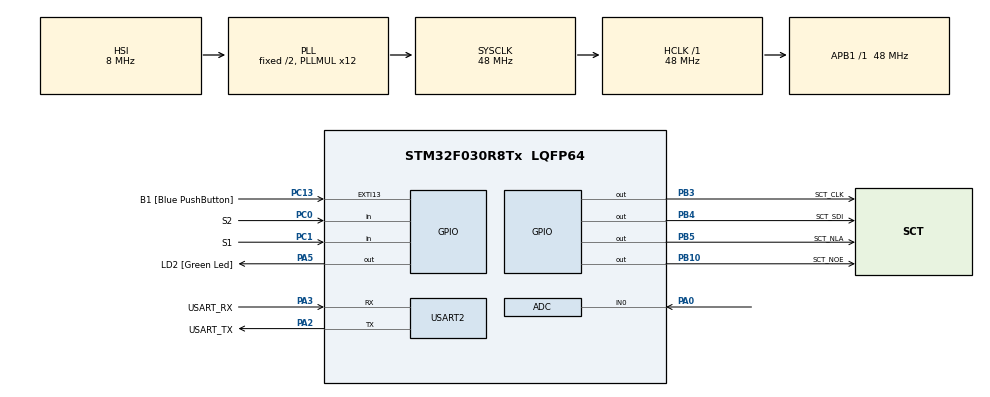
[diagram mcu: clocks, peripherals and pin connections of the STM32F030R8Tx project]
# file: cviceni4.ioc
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ADC.ContinuousConvMode=ENABLE
ADC.Overrun=ADC_OVR_DATA_OVERWRITTEN
ADC.SamplingTime=ADC_SAMPLETIME_239CYCLES_5
Mcu.Family=STM32F0
Mcu.Name=STM32F030R8Tx
Mcu.Package=LQFP64
NVIC.ADC1_IRQn=true\:0\:0\:false\:false\:true\:true\:true
PA0.Mode=IN0
PA0.Signal=ADC_IN0
PA13.GPIO_Label=TMS
PA13.Mode=Serial_Wire
PA13.Signal=SYS_SWDIO
PA14.GPIO_Label=TCK
PA14.Mode=Serial_Wire
PA14.Signal=SYS_SWCLK
PA2.GPIO_Label=USART_TX
PA2.GPIO_Mode=GPIO_MODE_AF_PP
PA2.GPIO_PuPd=GPIO_NOPULL
PA2.GPIO_Speed=GPIO_SPEED_FREQ_LOW
PA2.Mode=Asynchronous
PA2.Signal=USART2_TX
PA3.GPIO_Label=USART_RX
PA3.GPIO_Mode=GPIO_MODE_AF_PP
PA3.GPIO_PuPd=GPIO_NOPULL
PA3.GPIO_Speed=GPIO_SPEED_FREQ_LOW
PA3.Mode=Asynchronous
PA3.Signal=USART2_RX
PA5.GPIO_Label=LD2 [Green Led]
PA5.GPIO_Mode=GPIO_MODE_OUTPUT_PP
PA5.GPIO_PuPd=GPIO_NOPULL
PA5.GPIO_Speed=GPIO_SPEED_FREQ_LOW
PA5.Signal=GPIO_Output
PB10.GPIO_Label=SCT_NOE
PB10.Signal=GPIO_Output
PB3.GPIO_Label=SCT_CLK
PB3.Signal=GPIO_Output
PB4.GPIO_Label=SCT_SDI
PB4.Signal=GPIO_Output
PB5.GPIO_Label=SCT_NLA
PB5.Signal=GPIO_Output
PC0.GPIO_Label=S2
PC0.GPIO_PuPd=GPIO_PULLUP
PC0.Signal=GPIO_Input
PC1.GPIO_Label=S1
PC1.GPIO_PuPd=GPIO_PULLUP
PC1.Signal=GPIO_Input
PC13.GPIO_Label=B1 [Blue PushButton]
PC13.GPIO_ModeDefaultEXTI=GPIO_MODE_IT_FALLING
PC13.Signal=GPXTI13
PC14-OSC32_IN.Mode=LSE-External-Oscillator
PC14-OSC32_IN.Signal=RCC_OSC32_IN
PC15-OSC32_OUT.Mode=LSE-External-Oscillator
PC15-OSC32_OUT.Signal=RCC_OSC32_OUT
PF0-OSC_IN.Mode=HSE-External-Clock-Source
PF0-OSC_IN.Signal=RCC_OSC_IN
PF1-OSC_OUT.Signal=RCC_OSC_OUT
ProjectManager.HeapSize=0x200
ProjectManager.StackSize=0x400
ProjectManager.TargetToolchain=STM32CubeIDE
RCC.AHBFreq_Value=48000000
RCC.APB1Freq_Value=48000000
RCC.APB1TimFreq_Value=48000000
RCC.HCLKFreq_Value=48000000
RCC.PLLMUL=RCC_PLL_MUL12
RCC.SYSCLKFreq_VALUE=48000000
RCC.SYSCLKSource=RCC_SYSCLKSOURCE_PLLCLK
USART2.VirtualMode-Asynchronous=VM_ASYNC
VP_ADC_TempSens_Input.Mode=IN-TempSens
VP_ADC_Vref_Input.Mode=IN-Vrefint
board=NUCLEO-F030R8

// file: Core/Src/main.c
/* USER CODE BEGIN Header */
/**
 ******************************************************************************
 * @file           : main.c
 * @brief          : Main program body
 ******************************************************************************
 * @attention
 *
 * <h2><center>&copy; Copyright (c) 2021 STMicroelectronics.
 * All rights reserved.</center></h2>
 *
 * This software component is licensed by ST under BSD 3-Clause license,
 * the "License"; You may not use this file except in compliance with the
 * License. You may obtain a copy of the License at:
 *                        opensource.org/licenses/BSD-3-Clause
 *
 ******************************************************************************
 */
/* USER CODE END Header */
#include "main.h"

/* USER CODE BEGIN Includes */
#include "sct.h"
/* USER CODE END Includes */

/* USER CODE BEGIN PM */
#define ADC_Q 14

/* Temperature sensor calibration value address */
#define TEMP110_CAL_ADDR ((uint16_t*) ((uint32_t) 0x1FFFF7C2))
#define TEMP30_CAL_ADDR ((uint16_t*) ((uint32_t) 0x1FFFF7B8))
/* Internal voltage reference calibration value address */
#define VREFINT_CAL_ADDR ((uint16_t*) ((uint32_t) 0x1FFFF7BA))

/* USER CODE END PM */

ADC_HandleTypeDef hadc;

UART_HandleTypeDef huart2;

void SystemClock_Config(void);
static void MX_GPIO_Init(void);
static void MX_USART2_UART_Init(void);
static void MX_ADC_Init(void);

/* USER CODE BEGIN 0 */
static volatile uint32_t raw_pot; //staticka promenna pro ulozeni hodnoty z ADC
static uint32_t avg_pot; //s exp komulaci
static uint32_t raw_temp; //teplota
static uint32_t raw_volt; //napeti

static uint8_t channel = 0; //exp komulace zacina

void HAL_ADC_ConvCpltCallback(ADC_HandleTypeDef *hadc) // callback, ktery je volan po dokonceni kazdeho prevodu //musi byt v user code 0 - nahore
{

	if (channel == 0) { //exp kom
		raw_pot = avg_pot >> ADC_Q; // exponenciální kumulaci. Použijte bitový posun (ADC_Q) o cca 12 (tj. dělení 212).
		avg_pot -= raw_pot;
		avg_pot += HAL_ADC_GetValue(hadc); //// s exp komulaci
	}

	else if (channel == 1) { //teplota
		raw_temp = HAL_ADC_GetValue(hadc);
	}

	else if (channel == 2) { //napeti
		raw_volt = HAL_ADC_GetValue(hadc);
	}

	if (__HAL_ADC_GET_FLAG(hadc, ADC_FLAG_EOS))
		channel = 0;
	else
		channel++;

	//raw_pot = HAL_ADC_GetValue(hadc); //poze prectena hodnota z ADC
}
/* USER CODE END 0 */

int main(void) {

	/* MCU Configuration--------------------------------------------------------*/

	/* Reset of all peripherals, Initializes the Flash interface and the Systick. */
	HAL_Init();

	/* Configure the system clock */
	SystemClock_Config();

	/* Initialize all configured peripherals */
	MX_GPIO_Init();
	MX_USART2_UART_Init();
	MX_ADC_Init();
	/* USER CODE BEGIN 2 */
	HAL_ADCEx_Calibration_Start(&hadc); //jednorazova kalibrace vyrobnich toleranci // musi byt po inicializaci GPIO atd
	HAL_ADC_Start_IT(&hadc);

	sct_init(); // inicializace LED driveru
	//sct_led(0x7A5C36DE);
	//HAL_Delay(1000);

	/* USER CODE END 2 */

	/* Infinite loop */
	/* USER CODE BEGIN WHILE */
	while (1) {

		 uint16_t value = raw_pot*500/4095; //zobrazeni na displeji
		 uint8_t led = value*9/500; // i zadna nesvitici led je jedna z variant = takze 9

		 //sct_value(value,led);
		 //HAL_Delay(50);

		uint32_t voltage = 330 * (*VREFINT_CAL_ADDR) / raw_volt;
		int32_t temperature = (raw_temp - (int32_t) (*TEMP30_CAL_ADDR));

		temperature = temperature * (int32_t) (110 - 30);
		temperature = temperature / (int32_t) (*TEMP110_CAL_ADDR - *TEMP30_CAL_ADDR);
		temperature = temperature + 30;

		uint32_t tick;

		static enum {
			SHOW_POT, SHOW_VOLT, SHOW_TEMP
		} state = SHOW_TEMP;

		switch (state) {
		case SHOW_POT:
			sct_value(value, led);

			break;

		case SHOW_VOLT:
			sct_value(voltage, 0);

			break;
		case SHOW_TEMP:
			sct_value(temperature, 0);

			break;

		default:
			break;
		}

		if (!HAL_GPIO_ReadPin(S1_GPIO_Port,S1_Pin)) {
			state = SHOW_VOLT;
			tick = HAL_GetTick();
		}

		else if (!HAL_GPIO_ReadPin(S2_GPIO_Port,S2_Pin)) {
			state = SHOW_TEMP;
			tick = HAL_GetTick();
		}

		else if (HAL_GetTick() >= tick+1000) {
			state = SHOW_POT;
			tick = HAL_GetTick();
		}

		//sct_value(temperature, 0);
		/* USER CODE END WHILE */

	}
}

void SystemClock_Config(void) {
	RCC_OscInitTypeDef RCC_OscInitStruct = { 0 };
	RCC_ClkInitTypeDef RCC_ClkInitStruct = { 0 };

	/** Initializes the RCC Oscillators according to the specified parameters
	 * in the RCC_OscInitTypeDef structure.
	 */
	RCC_OscInitStruct.OscillatorType = RCC_OSCILLATORTYPE_HSI
			| RCC_OSCILLATORTYPE_HSI14;
	RCC_OscInitStruct.HSIState = RCC_HSI_ON;
	RCC_OscInitStruct.HSI14State = RCC_HSI14_ON;
	RCC_OscInitStruct.HSICalibrationValue = RCC_HSICALIBRATION_DEFAULT;
	RCC_OscInitStruct.HSI14CalibrationValue = 16;
	RCC_OscInitStruct.PLL.PLLState = RCC_PLL_ON;
	RCC_OscInitStruct.PLL.PLLSource = RCC_PLLSOURCE_HSI;
	RCC_OscInitStruct.PLL.PLLMUL = RCC_PLL_MUL12;
	RCC_OscInitStruct.PLL.PREDIV = RCC_PREDIV_DIV1;
	if (HAL_RCC_OscConfig(&RCC_OscInitStruct) != HAL_OK) {
		Error_Handler();
	}
	/** Initializes the CPU, AHB and APB buses clocks
	 */
	RCC_ClkInitStruct.ClockType = RCC_CLOCKTYPE_HCLK | RCC_CLOCKTYPE_SYSCLK
			| RCC_CLOCKTYPE_PCLK1;
	RCC_ClkInitStruct.SYSCLKSource = RCC_SYSCLKSOURCE_PLLCLK;
	RCC_ClkInitStruct.AHBCLKDivider = RCC_SYSCLK_DIV1;
	RCC_ClkInitStruct.APB1CLKDivider = RCC_HCLK_DIV1;

	if (HAL_RCC_ClockConfig(&RCC_ClkInitStruct, FLASH_LATENCY_1) != HAL_OK) {
		Error_Handler();
	}
}

static void MX_ADC_Init(void) {

	ADC_ChannelConfTypeDef sConfig = { 0 };

	/** Configure the global features of the ADC (Clock, Resolution, Data Alignment and number of conversion)
	 */
	hadc.Instance = ADC1;
	hadc.Init.ClockPrescaler = ADC_CLOCK_ASYNC_DIV1;
	hadc.Init.Resolution = ADC_RESOLUTION_12B;
	hadc.Init.DataAlign = ADC_DATAALIGN_RIGHT;
	hadc.Init.ScanConvMode = ADC_SCAN_DIRECTION_FORWARD;
	hadc.Init.EOCSelection = ADC_EOC_SINGLE_CONV;
	hadc.Init.LowPowerAutoWait = DISABLE;
	hadc.Init.LowPowerAutoPowerOff = DISABLE;
	hadc.Init.ContinuousConvMode = ENABLE;
	hadc.Init.DiscontinuousConvMode = DISABLE;
	hadc.Init.ExternalTrigConv = ADC_SOFTWARE_START;
	hadc.Init.ExternalTrigConvEdge = ADC_EXTERNALTRIGCONVEDGE_NONE;
	hadc.Init.DMAContinuousRequests = DISABLE;
	hadc.Init.Overrun = ADC_OVR_DATA_OVERWRITTEN;
	if (HAL_ADC_Init(&hadc) != HAL_OK) {
		Error_Handler();
	}
	/** Configure for the selected ADC regular channel to be converted.
	 */
	sConfig.Channel = ADC_CHANNEL_0;
	sConfig.Rank = ADC_RANK_CHANNEL_NUMBER;
	sConfig.SamplingTime = ADC_SAMPLETIME_239CYCLES_5;
	if (HAL_ADC_ConfigChannel(&hadc, &sConfig) != HAL_OK) {
		Error_Handler();
	}
	/** Configure for the selected ADC regular channel to be converted.
	 */
	sConfig.Channel = ADC_CHANNEL_TEMPSENSOR;
	if (HAL_ADC_ConfigChannel(&hadc, &sConfig) != HAL_OK) {
		Error_Handler();
	}
	/** Configure for the selected ADC regular channel to be converted.
	 */
	sConfig.Channel = ADC_CHANNEL_VREFINT;
	if (HAL_ADC_ConfigChannel(&hadc, &sConfig) != HAL_OK) {
		Error_Handler();
	}

}

static void MX_USART2_UART_Init(void) {

	huart2.Instance = USART2;
	huart2.Init.BaudRate = 38400;
	huart2.Init.WordLength = UART_WORDLENGTH_8B;
	huart2.Init.StopBits = UART_STOPBITS_1;
	huart2.Init.Parity = UART_PARITY_NONE;
	huart2.Init.Mode = UART_MODE_TX_RX;
	huart2.Init.HwFlowCtl = UART_HWCONTROL_NONE;
	huart2.Init.OverSampling = UART_OVERSAMPLING_16;
	huart2.Init.OneBitSampling = UART_ONE_BIT_SAMPLE_DISABLE;
	huart2.AdvancedInit.AdvFeatureInit = UART_ADVFEATURE_NO_INIT;
	if (HAL_UART_Init(&huart2) != HAL_OK) {
		Error_Handler();
	}

}

static void MX_GPIO_Init(void) {
	GPIO_InitTypeDef GPIO_InitStruct = { 0 };

	/* GPIO Ports Clock Enable */
	__HAL_RCC_GPIOC_CLK_ENABLE();
	__HAL_RCC_GPIOF_CLK_ENABLE();
	__HAL_RCC_GPIOA_CLK_ENABLE();
	__HAL_RCC_GPIOB_CLK_ENABLE();

	/*Configure GPIO pin Output Level */
	HAL_GPIO_WritePin(LD2_GPIO_Port, LD2_Pin, GPIO_PIN_RESET);

	/*Configure GPIO pin Output Level */
	HAL_GPIO_WritePin(GPIOB,
			SCT_NOE_Pin | SCT_CLK_Pin | SCT_SDI_Pin | SCT_NLA_Pin,
			GPIO_PIN_RESET);

	/*Configure GPIO pin : B1_Pin */
	GPIO_InitStruct.Pin = B1_Pin;
	GPIO_InitStruct.Mode = GPIO_MODE_IT_FALLING;
	GPIO_InitStruct.Pull = GPIO_NOPULL;
	HAL_GPIO_Init(B1_GPIO_Port, &GPIO_InitStruct);

	/*Configure GPIO pins : S2_Pin S1_Pin */
	GPIO_InitStruct.Pin = S2_Pin | S1_Pin;
	GPIO_InitStruct.Mode = GPIO_MODE_INPUT;
	GPIO_InitStruct.Pull = GPIO_PULLUP;
	HAL_GPIO_Init(GPIOC, &GPIO_InitStruct);

	/*Configure GPIO pin : LD2_Pin */
	GPIO_InitStruct.Pin = LD2_Pin;
	GPIO_InitStruct.Mode = GPIO_MODE_OUTPUT_PP;
	GPIO_InitStruct.Pull = GPIO_NOPULL;
	GPIO_InitStruct.Speed = GPIO_SPEED_FREQ_LOW;
	HAL_GPIO_Init(LD2_GPIO_Port, &GPIO_InitStruct);

	/*Configure GPIO pins : SCT_NOE_Pin SCT_CLK_Pin SCT_SDI_Pin SCT_NLA_Pin */
	GPIO_InitStruct.Pin = SCT_NOE_Pin | SCT_CLK_Pin | SCT_SDI_Pin | SCT_NLA_Pin;
	GPIO_InitStruct.Mode = GPIO_MODE_OUTPUT_PP;
	GPIO_InitStruct.Pull = GPIO_NOPULL;
	GPIO_InitStruct.Speed = GPIO_SPEED_FREQ_LOW;
	HAL_GPIO_Init(GPIOB, &GPIO_InitStruct);

}

void Error_Handler(void) {
	__disable_irq();
	while (1) {
	}
}

/************************ (C) COPYRIGHT STMicroelectronics *****END OF FILE****/
